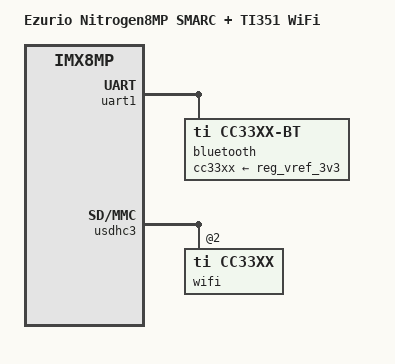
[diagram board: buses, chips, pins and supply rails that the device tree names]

// SPDX-License-Identifier: (GPL-2.0+ OR MIT)
/*
 * Copyright 2025 Ezurio LLC
 */

#include "imx8mp-nitrogen_smarc.dts"

/ {
	model = "Ezurio Nitrogen8MP SMARC + TI351 WiFi";
	compatible = "ezurio,imx8mp-nitrogen-smarc-ti351", "fsl,imx8mp";
};

&uart1 {
	bluetooth {
		compatible = "ti,cc33xx-bt";
		cc33xx-supply = <&reg_vref_3v3>;
		max-speed = <115200>;
		/delete-node/ shutdown-gpios;
	};
};

&usdhc3 { /* WiFi / Bluetooth */
	max-frequency = <50000000>;
	cap-power-off-card;

	/delete-node/ wifi@1;

	wifi@2 {
		reg = <2>;
		compatible = "ti,cc33xx";
	};
};

&iomuxc {
	pinctrl_usdhc3: usdhc3grp {
		fsl,pins = <
			MX8MP_IOMUXC_NAND_WE_B__USDHC3_CLK	0x10
			MX8MP_IOMUXC_NAND_WP_B__USDHC3_CMD	0x150
			MX8MP_IOMUXC_NAND_DATA04__USDHC3_DATA0	0x150
			MX8MP_IOMUXC_NAND_DATA05__USDHC3_DATA1	0x150
			MX8MP_IOMUXC_NAND_DATA06__USDHC3_DATA2	0x150
			MX8MP_IOMUXC_NAND_DATA07__USDHC3_DATA3	0x150
			MX8MP_IOMUXC_NAND_DQS__GPIO3_IO14	0x180a /*PULL_DOWN */
			MX8MP_IOMUXC_SAI5_RXD0__GPIO3_IO21	0x1c0
		>;
	};
};
